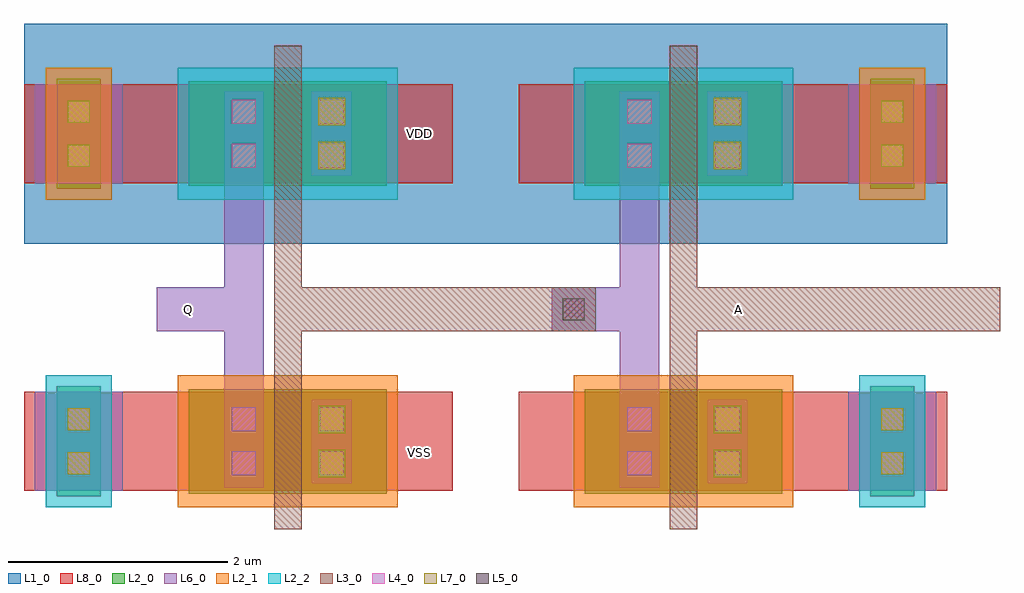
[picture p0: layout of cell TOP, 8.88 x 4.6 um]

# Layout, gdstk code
import gdstk
lib = gdstk.Library(unit=1e-6, precision=1e-09)
def R(c, l, rs):  # rectangles x0, y0, x1, y1
    for r in rs: c.add(gdstk.rectangle(r[:2], r[2:], *l))
L1_0 = (1, 0)
L2_0 = (2, 0)
L2_1 = (2, 1)
L2_2 = (2, 2)
L3_0 = (3, 0)
L4_0 = (4, 0)
L5_0 = (5, 0)
L6_0 = (6, 0)
L7_0 = (7, 0)
L8_0 = (8, 0)

ntrans = lib.new_cell('NTRANS')
R(ntrans, L2_0, [(-0.9,-0.475,0.9,0.475)])
R(ntrans, L2_1, [(-1,-0.6,1,0.6)])
R(ntrans, L4_0, [(-0.51,-0.31,-0.29,-0.09), (0.29,-0.31,0.51,-0.09), (-0.51,0.09,-0.29,0.31), (0.29,0.09,0.51,0.31)])
R(ntrans, L6_0, [(-0.58,-0.38,-0.22,0.38), (0.22,-0.38,0.58,0.38)])
ntrans.add(gdstk.FlexPath([(0,-0.8),(0,0.8)], 0.25, ends="flush", simple_path=True, layer=3, datatype=0))  # L3_0

ptrans = lib.new_cell('PTRANS')
R(ptrans, L2_0, [(-0.9,-0.475,0.9,0.475)])
R(ptrans, L2_2, [(-1,-0.6,1,0.6)])
R(ptrans, L4_0, [(-0.51,-0.31,-0.29,-0.09), (0.29,-0.31,0.51,-0.09), (-0.51,0.09,-0.29,0.31), (0.29,0.09,0.51,0.31)])
R(ptrans, L6_0, [(-0.58,-0.38,-0.22,0.38), (0.22,-0.38,0.58,0.38)])
ptrans.add(gdstk.FlexPath([(0,-0.8),(0,0.8)], 0.25, ends="flush", simple_path=True, layer=3, datatype=0))  # L3_0

inv = lib.new_cell('INV')
R(inv, L1_0, [(-1.5,1.8,1.5,3.8)])
R(inv, L3_0, [(-0.125,-0.25,0.125,2.25)])
R(inv, L6_0, [(-0.58,-0.42,-0.22,2.42)])
R(inv, L7_0, [(0.275,-0.325,0.525,-0.075), (0.275,0.075,0.525,0.325), (0.275,2.475,0.525,2.725), (0.275,2.875,0.525,3.125)])
R(inv, L8_0, [(-1.5,-0.45,1.5,0.45), (-1.5,2.35,1.5,3.25)])
inv.add(gdstk.Reference(ntrans, (0,0)))
inv.add(gdstk.Reference(ptrans, (0,2.8)))

tie = lib.new_cell('TIE')
R(tie, L1_0, [(-0.5,1.8,0.5,3.8)])
R(tie, L2_0, [(-0.2,-0.5,0.2,0.5), (-0.2,2.3,0.2,3.3)])
R(tie, L2_1, [(-0.3,2.2,0.3,3.4)])
R(tie, L2_2, [(-0.3,-0.6,0.3,0.6)])
R(tie, L4_0, [(-0.1,-0.3,0.1,-0.1), (-0.1,0.1,0.1,0.3), (-0.1,2.5,0.1,2.7), (-0.1,2.9,0.1,3.1)])
R(tie, L6_0, [(-0.4,-0.45,0.4,0.45), (-0.4,2.35,0.4,3.25)])
R(tie, L7_0, [(-0.1,-0.3,0.1,-0.1), (-0.1,0.1,0.1,0.3), (-0.1,2.5,0.1,2.7), (-0.1,2.9,0.1,3.1)])
R(tie, L8_0, [(-0.5,-0.45,0.5,0.45), (-0.5,2.35,0.5,3.25)])

top = lib.new_cell('TOP')
R(top, L1_0, [(4,3.4,5.6,5.4)])
R(top, L5_0, [(5.5,2.7,5.7,2.9)])
R(top, L6_0, [(1.81,2.6,2.5,3), (5.4,2.6,6.09,3)])
top.add(gdstk.FlexPath([(5.8,2.8),(2.92,2.8)], 0.4, ends="flush", simple_path=True, layer=3, datatype=0))  # L3_0
top.add(gdstk.FlexPath([(9.48,2.8),(6.6,2.8)], 0.4, ends="flush", simple_path=True, layer=3, datatype=0))  # L3_0
top.add(gdstk.Reference(inv, (3,1.6)))
top.add(gdstk.Reference(inv, (6.6,1.6)))
top.add(gdstk.Reference(tie, (1.1,1.6)))
top.add(gdstk.Reference(tie, (8.5,1.6)))
top.add(gdstk.Label('VDD', (4.2,4.4), layer=8, texttype=1))
top.add(gdstk.Label('VSS', (4.2,1.5), layer=8, texttype=1))
top.add(gdstk.Label('A', (7.1,2.8), layer=3, texttype=1))
top.add(gdstk.Label('Q', (2.1,2.8), layer=6, texttype=1))

lib.write_gds('TOP.gds')
